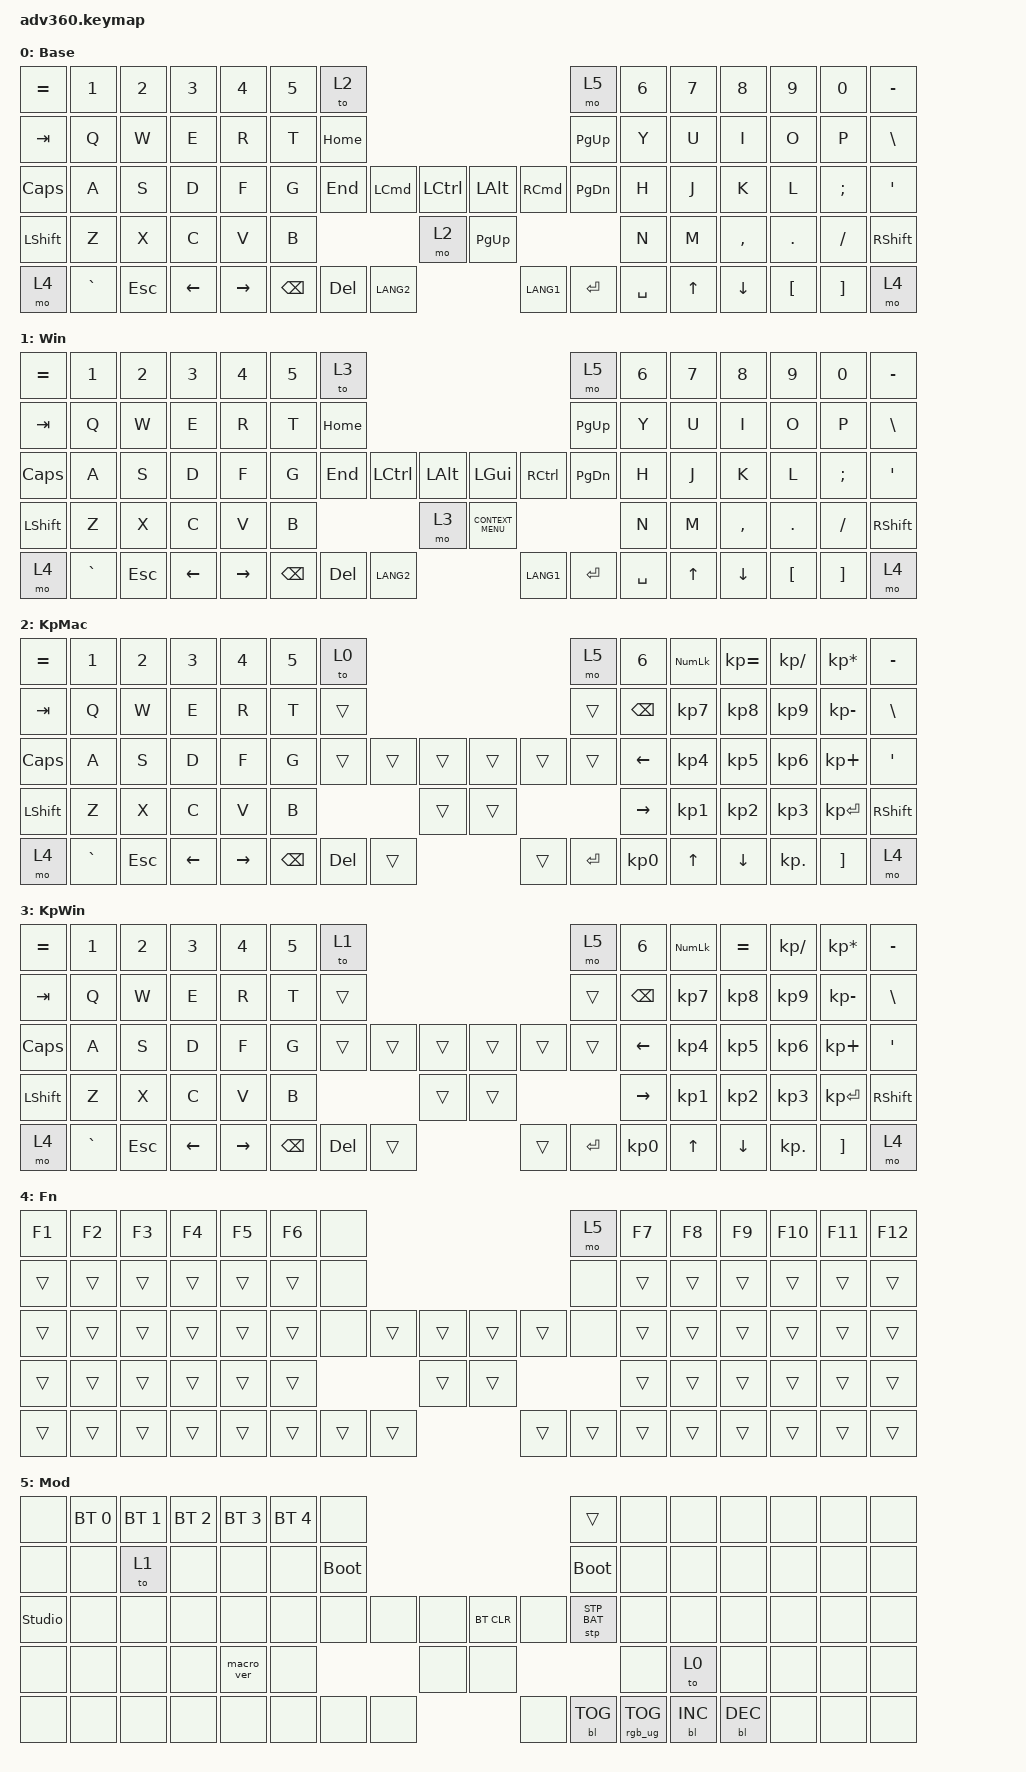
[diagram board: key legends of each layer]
#include <behaviors.dtsi>
#include <dt-bindings/zmk/keys.h>
#include <dt-bindings/zmk/bt.h>
#include <dt-bindings/zmk/rgb.h>
#include <dt-bindings/zmk/stp.h>
#include <dt-bindings/zmk/backlight.h>
#include <dt-bindings/zmk/pointing.h>

/ {
    behaviors {
      #include "macros.dtsi"
      #include "version.dtsi"

      hm: homerow_mods {
          compatible = "zmk,behavior-hold-tap";
          label = "HOMEROW_MODS";
          #binding-cells = <2>;
          tapping-term-ms = <200>;
          quick_tap_ms = <175>;
          flavor = "tap-preferred";
          bindings = <&kp>, <&kp>;
      };
    };

  keymap {
    compatible = "zmk,keymap";

    default_layer {
      display-name = "Base"; //layer 0  Mac用
      bindings = <
        &kp EQUAL &kp N1    &kp N2   &kp N3   &kp N4     &kp N5 &to 2                                                            &mo 5     &kp N6 &kp N7 &kp N8    &kp N9   &kp N0   &kp MINUS
        &kp TAB   &kp Q     &kp W    &kp E    &kp R      &kp T  &kp HOME                                                         &kp PG_UP &kp Y  &kp U  &kp I     &kp O    &kp P    &kp BSLH
        &kp CAPS  &kp A     &kp S    &kp D    &kp F      &kp G  &kp END        &kp LCMD  &kp LCTRL &kp LALT  &kp RCMD            &kp PG_DN &kp H  &kp J  &kp K     &kp L    &kp SEMI &kp SQT
        &kp LSHFT &kp Z     &kp X    &kp C    &kp V      &kp B                           &mo 2     &kp PG_UP                               &kp N  &kp M  &kp COMMA &kp DOT  &kp FSLH &kp RSHFT
        &mo 4     &kp GRAVE &kp ESC  &kp LEFT &kp RIGHT                &kp BSPC &kp DEL  &kp LANG2 &kp LANG1 &kp ENTER &kp SPACE                    &kp UP &kp DOWN  &kp LBKT &kp RBKT &mo 4
      >;
    };

    base_mac { 
      display-name = "Win";  // layer 1  Windows用
      bindings = <
        &kp EQUAL &kp N1    &kp N2   &kp N3   &kp N4     &kp N5 &to 3                                                            &mo 5     &kp N6 &kp N7 &kp N8    &kp N9   &kp N0   &kp MINUS
        &kp TAB   &kp Q     &kp W    &kp E    &kp R      &kp T  &kp HOME                                                         &kp PG_UP &kp Y  &kp U  &kp I     &kp O    &kp P    &kp BSLH
        &kp CAPS  &kp A     &kp S    &kp D    &kp F      &kp G  &kp END        &kp LCTRL &kp LALT &kp LGUI  &kp RCTRL            &kp PG_DN &kp H  &kp J  &kp K     &kp L    &kp SEMI &kp SQT
        &kp LSHFT &kp Z     &kp X    &kp C    &kp V      &kp B                           &mo 3     &kp K_CONTEXT_MENU                      &kp N  &kp M  &kp COMMA &kp DOT  &kp FSLH &kp RSHFT
        &mo 4     &kp GRAVE &kp ESC  &kp LEFT &kp RIGHT            &kp BSPC  &kp DEL  &kp LANG2  &kp LANG1  &kp ENTER  &kp SPACE                    &kp UP &kp DOWN  &kp LBKT &kp RBKT &mo 4
      >;
    };

    keypad {
      display-name = "KpMac";   // layer 2 Keypad Mac用
      bindings = <
        &kp EQUAL &kp N1    &kp N2   &kp N3   &kp N4     &kp N5 &to 0                                                            &mo 5   &kp N6    &kp KP_NUM &kp KP_EQUAL &kp KP_DIVIDE &kp KP_MULTIPLY &kp MINUS
        &kp TAB   &kp Q     &kp W    &kp E    &kp R      &kp T  &trans                                                           &trans  &kp BSPC  &kp KP_N7  &kp KP_N8    &kp KP_N9     &kp KP_MINUS    &kp BSLH
        &kp CAPS  &kp A     &kp S    &kp D    &kp F      &kp G  &trans         &trans    &trans    &trans    &trans              &trans  &kp LEFT  &kp KP_N4  &kp KP_N5    &kp KP_N6     &kp KP_PLUS     &kp SQT
        &kp LSHFT &kp Z     &kp X    &kp C    &kp V      &kp B                           &trans    &trans                                &kp RIGHT &kp KP_N1  &kp KP_N2    &kp KP_N3     &kp KP_ENTER    &kp RSHFT
        &mo 4     &kp GRAVE &kp ESC  &kp LEFT &kp RIGHT                &kp BSPC &kp DEL  &trans    &trans    &kp ENTER &kp KP_N0                   &kp UP     &kp DOWN     &kp KP_DOT    &kp RBKT        &mo 4
      >;
    };

    keypad_win { 
      display-name = "KpWin";  // layer 3  Keypad Windows用
      bindings = <
        &kp EQUAL &kp N1    &kp N2   &kp N3   &kp N4     &kp N5 &to 1                                                            &mo 5   &kp N6    &kp KP_NUM &kp EQUAL    &kp KP_DIVIDE &kp KP_MULTIPLY &kp MINUS
        &kp TAB   &kp Q     &kp W    &kp E    &kp R      &kp T  &trans                                                           &trans  &kp BSPC  &kp KP_N7  &kp KP_N8    &kp KP_N9     &kp KP_MINUS    &kp BSLH
        &kp CAPS  &kp A     &kp S    &kp D    &kp F      &kp G  &trans         &trans    &trans    &trans    &trans              &trans  &kp LEFT  &kp KP_N4  &kp KP_N5    &kp KP_N6     &kp KP_PLUS     &kp SQT
        &kp LSHFT &kp Z     &kp X    &kp C    &kp V      &kp B                           &trans    &trans                                &kp RIGHT &kp KP_N1  &kp KP_N2    &kp KP_N3     &kp KP_ENTER    &kp RSHFT
        &mo 4     &kp GRAVE &kp ESC  &kp LEFT &kp RIGHT                &kp BSPC &kp DEL  &trans    &trans    &kp ENTER &kp KP_N0                   &kp UP     &kp DOWN     &kp KP_DOT    &kp RBKT        &mo 4
      >;
    };

    fn {
      display-name = "Fn";  // layer 4
      bindings = <
        &kp F1 &kp F2 &kp F3 &kp F4 &kp F5 &kp F6  &none                                           &mo 5 &kp F7 &kp F8 &kp F9 &kp F10 &kp F11 &kp F12
        &trans &trans &trans &trans &trans &trans  &none                                           &none &trans &trans &trans &trans  &trans  &trans
        &trans &trans &trans &trans &trans &trans  &none        &trans &trans &trans &trans        &none &trans &trans &trans &trans  &trans  &trans
        &trans &trans &trans &trans &trans &trans                      &trans &trans                     &trans &trans &trans &trans  &trans  &trans
        &trans &trans &trans &trans &trans               &trans &trans &trans &trans &trans &trans              &trans &trans &trans  &trans  &trans
      >;
    };

    mod {
      display-name = "Mod";  // layer 5
      bindings = <
        &none &bt BT_SEL 0 &bt BT_SEL 1 &bt BT_SEL 2 &bt BT_SEL 3 &bt BT_SEL 4 &none                                                                     &trans                 &none        &none        &none        &none &none &none
        &none &none        &to 1        &none        &none        &none        &bootloader                                                               &bootloader            &none        &none        &none        &none &none &none
        &studio_unlock &none        &none        &none        &none        &none        &none                   &none &none &bt BT_CLR &none                      &stp STP_BAT &none        &none        &none        &none &none &none
        &none &none        &none        &none        &macro_ver   &none                                      &none &none                                                        &none        &to 0        &none        &none &none &none
        &none &none        &none        &none        &none                                       &none &none &none &none      &bl BL_TOG &rgb_ug RGB_TOG                                     &bl BL_INC   &bl BL_DEC   &none &none &none
      >;
    };

    extra1 { 
      display-name = "Cyan";  // layer 6
      status = "reserved";
    };

    extra2 { 
      display-name = "Yellow"; // layer 7
      status = "reserved";
    };
  };
};
